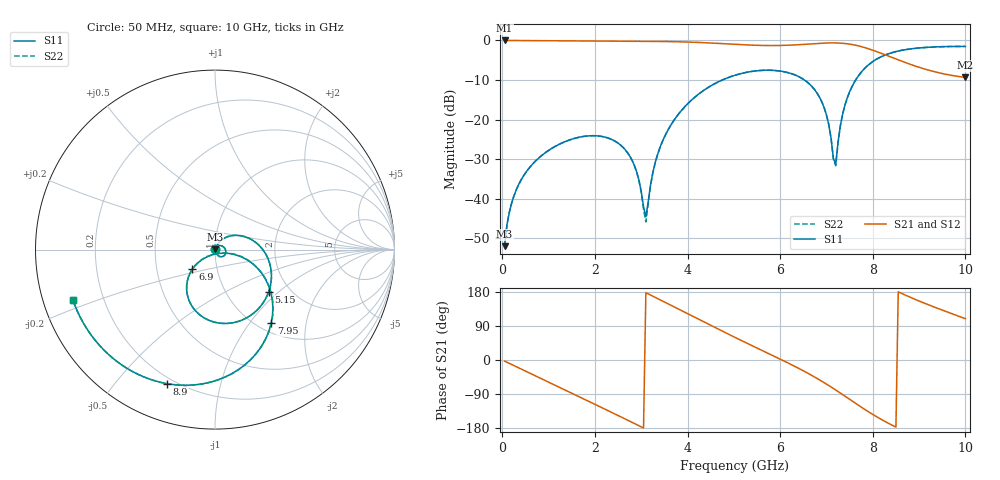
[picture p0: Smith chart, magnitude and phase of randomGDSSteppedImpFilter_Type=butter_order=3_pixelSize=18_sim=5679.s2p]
! freq	dB(S11)	phase(S11)	dB(S12)	phase(S12)
!  dB(S21)	phase(S21)	dB(S22)	phase(S22)
!S-par simulation data
#  GHz  S  DB  R 50
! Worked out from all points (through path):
!   200 points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, 50 MHz to 10 GHz, reference 50 ohm
!   highest |S21| = 0.00 dB at 50 MHz (marker M1); lowest = -9.3 dB at 10 GHz (marker M2)
!   group delay of S21, straight-line fit = 174 ps
!   lowest |S11| = -52.0 dB at 50 MHz (marker M3), VSWR 1.01, Z = 50 + j0.246 ohm
!   |S11| at or under -10 dB: start of sweep to 4.75 GHz; 6.523 GHz to 7.631 GHz (1.108 GHz wide, 15.7 % of centre)
!   |S22| runs from -52.0 to -1.5 dB; largest |S21 - S12| = 0
!   S11 on the Smith chart (normalised r, x): 50 MHz: 1.00, +0.00; 5.15 GHz: 1.56, -0.86; 6.9 GHz: 0.76, -0.17; 7.95 GHz: 1.15, -1.28; 8.9 GHz: 0.17, -0.69; 10 GHz: 0.09, -0.17
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0.05  -52.00 78.4  -0.00 -3.0  -0.00 -3.0  -52.00 78.4
0.2  -41.19 73.6  -0.02 -11.8  -0.02 -11.8  -41.19 73.6
0.5  -33.50 59.6  -0.05 -29.3  -0.05 -29.3  -33.50 59.6
1.15  -26.72 23.9  -0.09 -67.2  -0.09 -67.2  -26.72 23.7
1.75  -24.27 -10.3  -0.13 -102.3  -0.13 -102.3  -24.27 -10.6
2.7  -28.30 -61.5  -0.19 -158.4  -0.19 -158.4  -28.32 -62.5
2.95  -35.26 -65.1  -0.21 -173.4  -0.21 -173.4  -35.38 -67.6
3.1  -44.57 2.4  -0.22 177.6  -0.22 177.6  -45.88 3.2
3.4  -27.22 60.4  -0.25 159.3  -0.25 159.3  -27.25 61.6
4.25  -13.46 14.8  -0.51 106.8  -0.51 106.8  -13.46 15.1
5.05  -8.71 -32.5  -1.00 58.1  -1.00 58.1  -8.71 -32.3
5.15  -8.39 -38.2  -1.06 52.1  -1.06 52.1  -8.39 -38.1
5.95  -7.66 -83.8  -1.28 5.3  -1.28 5.3  -7.66 -83.8
6.7  -11.83 -128.0  -0.84 -41.8  -0.84 -41.8  -11.83 -128.1
6.9  -15.53 -139.0  -0.69 -56.1  -0.69 -56.1  -15.54 -139.3
7.2  -31.31 -54.6  -0.62 -79.2  -0.62 -79.2  -31.67 -53.3
7.3  -21.54 -15.2  -0.67 -87.3  -0.67 -87.3  -21.58 -14.2
7.45  -14.49 -17.7  -0.84 -99.6  -0.84 -99.6  -14.50 -17.3
7.95  -5.77 -52.5  -2.27 -139.9  -2.27 -139.9  -5.77 -52.3
8.35  -3.32 -79.1  -4.02 -167.8  -4.02 -167.8  -3.32 -79.0
8.9  -2.01 -109.6  -6.40 160.7  -6.40 160.7  -2.01 -109.5
10  -1.51 -160.4  -9.33 108.9  -9.33 108.9  -1.51 -160.4
